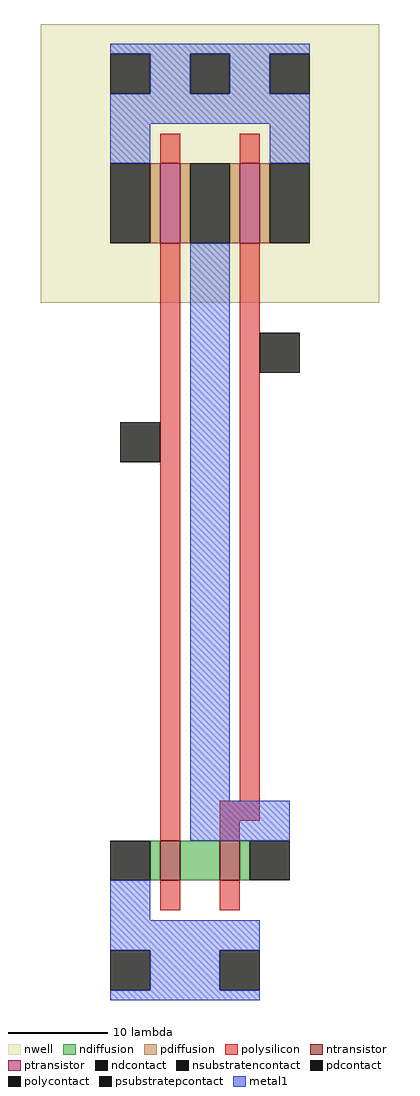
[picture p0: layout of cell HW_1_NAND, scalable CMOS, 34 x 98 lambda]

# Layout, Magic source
magic
tech scmos
<< nwell >>
rect -17 16 17 44
<< ntransistor >>
rect -5 -42 -3 -38
rect 1 -42 3 -38
<< ptransistor >>
rect -5 22 -3 30
rect 3 22 5 30
<< ndiffusion >>
rect -6 -42 -5 -38
rect -3 -42 1 -38
rect 3 -42 4 -38
<< pdiffusion >>
rect -6 22 -5 30
rect -3 22 -2 30
rect 2 22 3 30
rect 5 22 6 30
<< ndcontact >>
rect -10 -42 -6 -38
rect 4 -42 8 -38
<< pdcontact >>
rect -10 22 -6 30
rect -2 22 2 30
rect 6 22 10 30
<< psubstratepcontact >>
rect -10 -53 -6 -49
rect 1 -53 5 -49
<< nsubstratencontact >>
rect -10 37 -6 41
rect -2 37 2 41
rect 6 37 10 41
<< polysilicon >>
rect -5 30 -3 33
rect 3 30 5 33
rect -5 -38 -3 22
rect 3 -34 5 22
rect 1 -36 5 -34
rect 1 -38 3 -36
rect -5 -45 -3 -42
rect 1 -45 3 -42
<< polycontact >>
rect -9 0 -5 4
rect 5 9 9 13
<< metal1 >>
rect -10 41 10 42
rect -6 37 -2 41
rect 2 37 6 41
rect -10 34 10 37
rect -10 30 -6 34
rect 6 30 10 34
rect -2 -34 2 22
rect -2 -38 8 -34
rect -10 -46 -6 -42
rect -10 -49 5 -46
rect -6 -53 1 -49
rect -10 -54 5 -53
<< end >>
